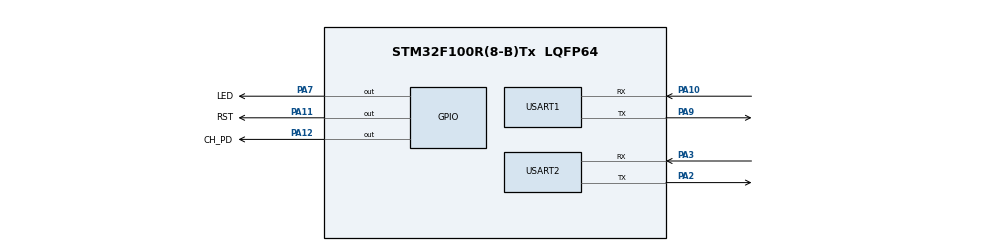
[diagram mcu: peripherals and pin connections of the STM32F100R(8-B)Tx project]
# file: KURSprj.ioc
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Mcu.Family=STM32F1
PA10.Mode=Asynchronous
PA11.GPIO_Label=RST
PA12.GPIO_Label=CH_PD
ProjectManager.StackSize=0x400
PA13.Signal=SYS_JTMS-SWDIO
PA3.Mode=Asynchronous
PA9.Mode=Asynchronous
PA12.Signal=GPIO_Output
ProjectManager.TargetToolchain=STM32CubeIDE
PA9.Signal=USART1_TX
board=custom
RCC.APB2Freq_Value=8000000
PA14.Mode=Serial_Wire
PA13.Mode=Serial_Wire
Mcu.Name=STM32F100R(8-B)Tx
PA2.Signal=USART2_TX
Mcu.Package=LQFP64
PA7.GPIO_Label=LED
USART2.VirtualMode=VM_ASYNC
USART1.VirtualMode=VM_ASYNC
PA11.Signal=GPIO_Output
PA10.Signal=USART1_RX
PA14.Signal=SYS_JTCK-SWCLK
ProjectManager.HeapSize=0x200
NVIC.PriorityGroup=NVIC_PRIORITYGROUP_4
PA2.Mode=Asynchronous
NVIC.USART1_IRQn=true\:0\:0\:false\:false\:true\:true\:true
RCC.APB1Freq_Value=8000000
PA3.Signal=USART2_RX
PA7.Signal=GPIO_Output

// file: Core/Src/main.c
/* USER CODE BEGIN Header */
/**
  ******************************************************************************
  * @file           : main.c
  * @brief          : Main program body
  ******************************************************************************
  * @attention
  *
  * <h2><center>&copy; Copyright (c) 2021 STMicroelectronics.
  * All rights reserved.</center></h2>
  *
  * This software component is licensed by ST under BSD 3-Clause license,
  * the "License"; You may not use this file except in compliance with the
  * License. You may obtain a copy of the License at:
  *                        opensource.org/licenses/BSD-3-Clause
  *
  ******************************************************************************
  */
/* USER CODE END Header */
#include "main.h"

/* USER CODE BEGIN Includes */
#include <string.h>
/* USER CODE END Includes */

UART_HandleTypeDef huart1;
UART_HandleTypeDef huart2;

/* USER CODE BEGIN PV */
char str1[60]={0};
typedef struct USART_prop{
  uint8_t usart_buf[60];
  uint8_t usart_cnt;
} USART_prop_ptr;
USART_prop_ptr usartprop;
/* USER CODE END PV */

void SystemClock_Config(void);
static void MX_GPIO_Init(void);
static void MX_USART1_UART_Init(void);
static void MX_USART2_UART_Init(void);

/* USER CODE BEGIN 0 */
void string_parse(char* buf_str)
{
  HAL_UART_Transmit(&huart2,(uint8_t*)buf_str,strlen(buf_str),0x1000);
  HAL_GPIO_WritePin(LED_GPIO_Port, LED_Pind, GPIO_PIN_RESET);
}

void UART1_RxCpltCallback(void)
{
  uint8_t b;
  b = str1[0];
  //если вдруг случайно превысим длину буфера
  if (usartprop.usart_cnt>59)
  {
    usartprop.usart_cnt=0;
    HAL_UART_Receive_IT(&huart1,(uint8_t*)str1,1);
    return;
  }
  usartprop.usart_buf[usartprop.usart_cnt] = b;
  if(b==0x0A)
  {
	HAL_GPIO_WritePin(LED_GPIO_Port, LED_Pind, GPIO_PIN_SET);
    usartprop.usart_buf[usartprop.usart_cnt+1]=0;
    string_parse((char*)usartprop.usart_buf);
    usartprop.usart_cnt=0;
    HAL_UART_Receive_IT(&huart1,(uint8_t*)str1,1);
    return;
  }
  usartprop.usart_cnt++;
  HAL_UART_Receive_IT(&huart1,(uint8_t*)str1,1);
}
/* USER CODE END 0 */

int main(void)
{

  /* MCU Configuration--------------------------------------------------------*/

  /* Reset of all peripherals, Initializes the Flash interface and the Systick. */
  HAL_Init();

  /* Configure the system clock */
  SystemClock_Config();

  /* Initialize all configured peripherals */
  MX_GPIO_Init();
  MX_USART1_UART_Init();
  MX_USART2_UART_Init();
  /* USER CODE BEGIN 2 */
  HAL_UART_Receive_IT(&huart1,(uint8_t*)str1,1);
  HAL_Delay(1000);
  HAL_GPIO_WritePin(RST_GPIO_Port, RST_Pin, GPIO_PIN_SET);
  HAL_Delay(1000);
  HAL_GPIO_WritePin(CH_PD_GPIO_Port, CH_PD_Pin, GPIO_PIN_SET);
  HAL_Delay(1000);
  HAL_UART_Transmit(&huart1, (uint8_t*)"AT+CWSAP=\"WIFIVIP1\",\"12345678\",5,2\r\n", 36, -1);
  HAL_Delay(1000);
  HAL_UART_Transmit(&huart1, (uint8_t*)"AT+CIPSTART=\"UDP\",\"192.168.4.2\",2599,2599,2\r\n", 45, -1);
  /* USER CODE END 2 */

  /* Infinite loop */
  while (1)
  {

  }
}

void SystemClock_Config(void)
{
  RCC_OscInitTypeDef RCC_OscInitStruct = {0};
  RCC_ClkInitTypeDef RCC_ClkInitStruct = {0};

  /** Initializes the RCC Oscillators according to the specified parameters
  * in the RCC_OscInitTypeDef structure.
  */
  RCC_OscInitStruct.OscillatorType = RCC_OSCILLATORTYPE_HSI;
  RCC_OscInitStruct.HSIState = RCC_HSI_ON;
  RCC_OscInitStruct.HSICalibrationValue = RCC_HSICALIBRATION_DEFAULT;
  RCC_OscInitStruct.PLL.PLLState = RCC_PLL_NONE;
  if (HAL_RCC_OscConfig(&RCC_OscInitStruct) != HAL_OK)
  {
    Error_Handler();
  }
  /** Initializes the CPU, AHB and APB buses clocks
  */
  RCC_ClkInitStruct.ClockType = RCC_CLOCKTYPE_HCLK|RCC_CLOCKTYPE_SYSCLK
                              |RCC_CLOCKTYPE_PCLK1|RCC_CLOCKTYPE_PCLK2;
  RCC_ClkInitStruct.SYSCLKSource = RCC_SYSCLKSOURCE_HSI;
  RCC_ClkInitStruct.AHBCLKDivider = RCC_SYSCLK_DIV1;
  RCC_ClkInitStruct.APB1CLKDivider = RCC_HCLK_DIV1;
  RCC_ClkInitStruct.APB2CLKDivider = RCC_HCLK_DIV1;

  if (HAL_RCC_ClockConfig(&RCC_ClkInitStruct, FLASH_LATENCY_0) != HAL_OK)
  {
    Error_Handler();
  }
}

static void MX_USART1_UART_Init(void)
{

  huart1.Instance = USART1;
  huart1.Init.BaudRate = 115200;
  huart1.Init.WordLength = UART_WORDLENGTH_8B;
  huart1.Init.StopBits = UART_STOPBITS_1;
  huart1.Init.Parity = UART_PARITY_NONE;
  huart1.Init.Mode = UART_MODE_TX_RX;
  huart1.Init.HwFlowCtl = UART_HWCONTROL_NONE;
  huart1.Init.OverSampling = UART_OVERSAMPLING_16;
  if (HAL_UART_Init(&huart1) != HAL_OK)
  {
    Error_Handler();
  }

}

static void MX_USART2_UART_Init(void)
{

  huart2.Instance = USART2;
  huart2.Init.BaudRate = 115200;
  huart2.Init.WordLength = UART_WORDLENGTH_8B;
  huart2.Init.StopBits = UART_STOPBITS_1;
  huart2.Init.Parity = UART_PARITY_NONE;
  huart2.Init.Mode = UART_MODE_TX_RX;
  huart2.Init.HwFlowCtl = UART_HWCONTROL_NONE;
  huart2.Init.OverSampling = UART_OVERSAMPLING_16;
  if (HAL_UART_Init(&huart2) != HAL_OK)
  {
    Error_Handler();
  }

}

static void MX_GPIO_Init(void)
{
  GPIO_InitTypeDef GPIO_InitStruct = {0};

  /* GPIO Ports Clock Enable */
  __HAL_RCC_GPIOA_CLK_ENABLE();

  /*Configure GPIO pin Output Level */
  HAL_GPIO_WritePin(GPIOA, LED_Pin|RST_Pin|CH_PD_Pin, GPIO_PIN_RESET);

  /*Configure GPIO pins : LED_Pin RST_Pin CH_PD_Pin */
  GPIO_InitStruct.Pin = LED_Pin|RST_Pin|CH_PD_Pin;
  GPIO_InitStruct.Mode = GPIO_MODE_OUTPUT_PP;
  GPIO_InitStruct.Pull = GPIO_NOPULL;
  GPIO_InitStruct.Speed = GPIO_SPEED_FREQ_LOW;
  HAL_GPIO_Init(GPIOA, &GPIO_InitStruct);

}

/* USER CODE BEGIN 4 */
void HAL_UART_RxCpltCallback(UART_HandleTypeDef *huart)
{
	if(huart==&huart1)
	{
		UART1_RxCpltCallBack();
	}
}
/* USER CODE END 4 */

void Error_Handler(void)
{
  __disable_irq();
  while (1)
  {
  }
}

/************************ (C) COPYRIGHT STMicroelectronics *****END OF FILE****/
